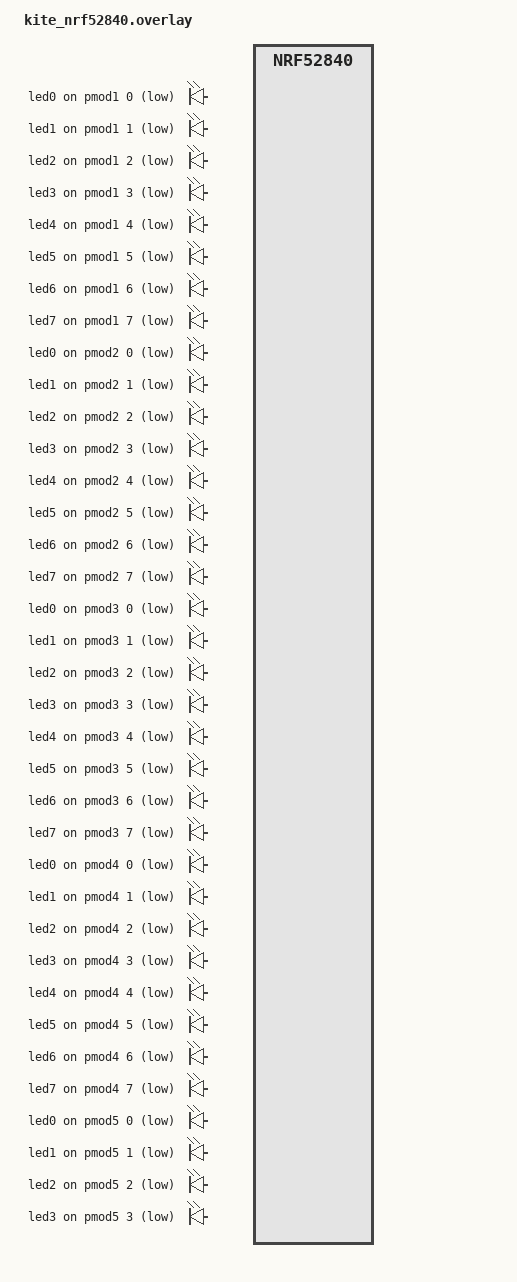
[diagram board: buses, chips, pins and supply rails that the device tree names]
/* Disable UART0 which is muxed to Pmod 1 by default. */
&uart0 {
	status = "disabled";
};

/ {
	leds_pmod1 {
		compatible = "gpio-leds";
		status = "okay";
		led0 {
			gpios = <&pmod1 0 GPIO_ACTIVE_LOW>;
		};
		led1 {
			gpios = <&pmod1 1 GPIO_ACTIVE_LOW>;
		};
		led2 {
			gpios = <&pmod1 2 GPIO_ACTIVE_LOW>;
		};
		led3 {
			gpios = <&pmod1 3 GPIO_ACTIVE_LOW>;
		};
		led4 {
			gpios = <&pmod1 4 GPIO_ACTIVE_LOW>;
		};
		led5 {
			gpios = <&pmod1 5 GPIO_ACTIVE_LOW>;
		};
		led6 {
			gpios = <&pmod1 6 GPIO_ACTIVE_LOW>;
		};
		led7 {
			gpios = <&pmod1 7 GPIO_ACTIVE_LOW>;
		};
	};

	leds_pmod2 {
		compatible = "gpio-leds";
		status = "okay";
		led0 {
			gpios = <&pmod2 0 GPIO_ACTIVE_LOW>;
		};
		led1 {
			gpios = <&pmod2 1 GPIO_ACTIVE_LOW>;
		};
		led2 {
			gpios = <&pmod2 2 GPIO_ACTIVE_LOW>;
		};
		led3 {
			gpios = <&pmod2 3 GPIO_ACTIVE_LOW>;
		};
		led4 {
			gpios = <&pmod2 4 GPIO_ACTIVE_LOW>;
		};
		led5 {
			gpios = <&pmod2 5 GPIO_ACTIVE_LOW>;
		};
		led6 {
			gpios = <&pmod2 6 GPIO_ACTIVE_LOW>;
		};
		led7 {
			gpios = <&pmod2 7 GPIO_ACTIVE_LOW>;
		};
	};

	leds_pmod3 {
		compatible = "gpio-leds";
		status = "okay";
		led0 {
			gpios = <&pmod3 0 GPIO_ACTIVE_LOW>;
		};
		led1 {
			gpios = <&pmod3 1 GPIO_ACTIVE_LOW>;
		};
		led2 {
			gpios = <&pmod3 2 GPIO_ACTIVE_LOW>;
		};
		led3 {
			gpios = <&pmod3 3 GPIO_ACTIVE_LOW>;
		};
		led4 {
			gpios = <&pmod3 4 GPIO_ACTIVE_LOW>;
		};
		led5 {
			gpios = <&pmod3 5 GPIO_ACTIVE_LOW>;
		};
		led6 {
			gpios = <&pmod3 6 GPIO_ACTIVE_LOW>;
		};
		led7 {
			gpios = <&pmod3 7 GPIO_ACTIVE_LOW>;
		};
	};

	leds_pmod4 {
		compatible = "gpio-leds";
		status = "okay";
		led0 {
			gpios = <&pmod4 0 GPIO_ACTIVE_LOW>;
		};
		led1 {
			gpios = <&pmod4 1 GPIO_ACTIVE_LOW>;
		};
		led2 {
			gpios = <&pmod4 2 GPIO_ACTIVE_LOW>;
		};
		led3 {
			gpios = <&pmod4 3 GPIO_ACTIVE_LOW>;
		};
		led4 {
			gpios = <&pmod4 4 GPIO_ACTIVE_LOW>;
		};
		led5 {
			gpios = <&pmod4 5 GPIO_ACTIVE_LOW>;
		};
		led6 {
			gpios = <&pmod4 6 GPIO_ACTIVE_LOW>;
		};
		led7 {
			gpios = <&pmod4 7 GPIO_ACTIVE_LOW>;
		};
	};

	/* This is the "power Pmod" connector. NOTE: the LED
	 * the VDD pin on this connector does not power the module
	 * since the board expects to receive power via that pin.
	 * To test this port you need to jump the power somehow
	 * for example using a tweezer. */
	leds_pmod5 {
		compatible = "gpio-leds";
		status = "okay";
		led0 {
			gpios = <&pmod5 0 GPIO_ACTIVE_LOW>;
		};
		led1 {
			gpios = <&pmod5 1 GPIO_ACTIVE_LOW>;
		};
		led2 {
			gpios = <&pmod5 2 GPIO_ACTIVE_LOW>;
		};
		led3 {
			gpios = <&pmod5 3 GPIO_ACTIVE_LOW>;
		};
	};
};
